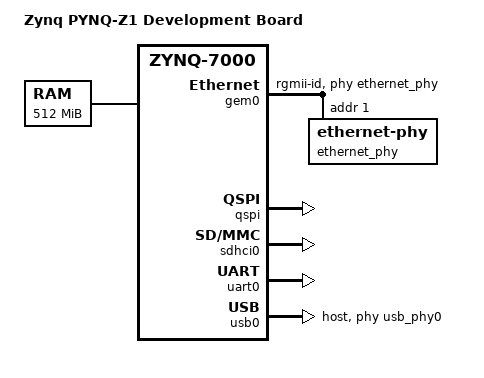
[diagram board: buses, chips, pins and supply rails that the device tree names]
/dts-v1/;
#include "zynq-7000.dtsi"

/ {
	model = "Zynq PYNQ-Z1 Development Board";
	compatible = "digilent,zynq-pynqz1", "xlnx,zynq-7000";

	reserved-memory {
		#address-cells = <0x1>;
		#size-cells = <0x1>;
		ranges;

		zynq-dma-unusable-area {
			reg = <0x0 0x80000>;
		};
	};

	aliases {
		ethernet0 = &gem0;
		serial0 = &uart0;
		spi0 = &qspi;
		mmc0 = &sdhci0;
	};

	memory@0 {
		device_type = "memory";
		reg = <0x0 0x20000000>;
	};

	chosen {
		bootargs = "earlycon";
		stdout-path = "serial0:115200n8";
	};

	usb_phy0: phy0@e0002000 {
		compatible = "ulpi-phy";
		#phy-cells = <0>;
		reg = <0xe0002000 0x1000>;
		view-port = <0x0170>;
		drv-vbus;
	};
};

&clkc {
	ps-clk-frequency = <50000000>;
};

&gem0 {
	status = "okay";
	phy-mode = "rgmii-id";
	phy-handle = <&ethernet_phy>;

	ethernet_phy: ethernet-phy@0 {
		reg = <1>;
		device_type = "ethernet-phy";
	};
};

&qspi {
	u-boot,dm-pre-reloc;
	status = "okay";
};

&sdhci0 {
	u-boot,dm-pre-reloc;
	status = "okay";
};

&uart0 {
	u-boot,dm-pre-reloc;
	status = "okay";
};

&usb0 {
	status = "okay";
	dr_mode = "host";
	usb-reset = <&gpio0 46 0>;
	usb-phy = <&usb_phy0>;
};
